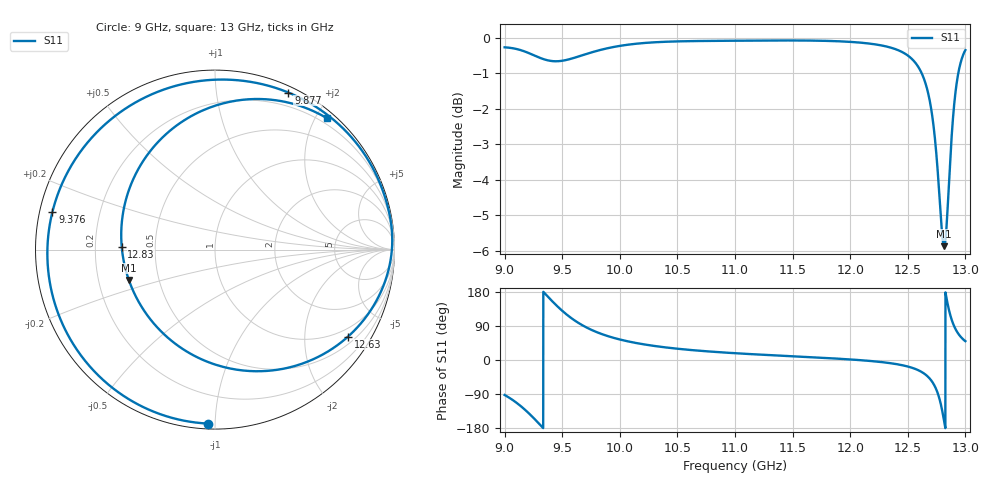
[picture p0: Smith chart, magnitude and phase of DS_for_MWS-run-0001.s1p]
! TOUCHSTONE file generated by CST DESIGN STUDIO
! Date and time: Tue Feb  4 17:43:41 2025
! Project name: C:\Work\MatlabApps\UnitCellOptimizationMatlab\CST\unitcell.cst
! Tree item: Tasks\Sweep1\SPara1\S-Parameters
! Header version: 2024
! Port assignment regex: !\s*Touchstone port\s*([0-9]+)\s*=\s*(CST MWS port|CST DES external port|CST DES block port)\s*(.+)\s* \(\"(.*)\"\)(\s*mode\s*([0-9]+))?.*
! Touchstone port assignment:
! Touchstone port 1 = CST DES external port 1 ("")
# GHz S MA R 50
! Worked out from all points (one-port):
!   4001 points, 9 GHz to 13 GHz, reference 50 ohm
!   lowest |S11| = -5.9 dB at 12.81 GHz (marker M1), VSWR 3.07, Z = 16.7 - j7.6 ohm
!   |S11| at or under -10 dB: nowhere
!   S11 on the Smith chart (normalised r, x): 9 GHz: 0.03, -0.96; 9.376 GHz: 0.04, +0.11; 9.877 GHz: 0.06, +1.57; 12.63 GHz: 0.71, -3.21; 12.83 GHz: 0.32, +0.01; 13 GHz: 0.11, +2.15
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9  0.9701 -92.3
9.096  0.9654 -111.2
9.179  0.9565 -131.8
9.284  0.9408 -163.2
9.376  0.9299 167.0
9.5  0.9287 129.9
9.571  0.9342 112.4
9.651  0.9427 96.0
9.877  0.9659 64.9
10  0.9746 54.1
10.217  0.9839 40.9
10.5  0.9889 29.8
11  0.9911 17.9
11.5  0.9919 9.8
12  0.9874 1.5
12.3  0.9739 -6.5
12.5  0.9447 -17.2
12.629  0.8855 -33.2
12.696  0.8069 -51.1
12.751  0.677 -80.5
12.784  0.5685 -113.1
12.815  0.5091 -160.6
12.827  0.5198 178.4
12.845  0.573 149.2
12.865  0.659 122.7
12.897  0.7876 93.0
12.949  0.9095 65.0
13  0.9614 49.7
